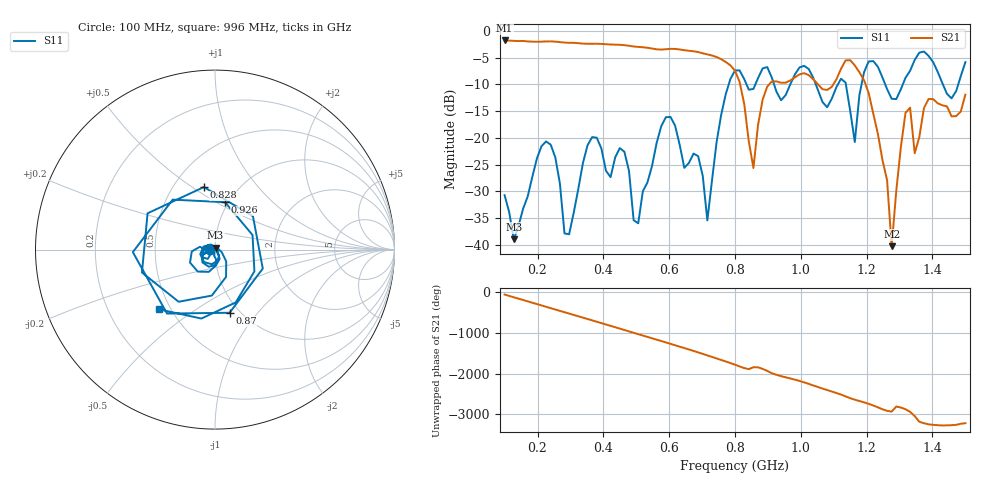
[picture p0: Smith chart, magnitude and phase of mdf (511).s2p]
! NanoVNA-App
! Date: 2025-09-25 15:42:24
! Start: 100MHz Stop: 1,5GHz Points: 101
! S-Parameter data: F S11 S21 S12 S22
# Hz S RI R 50
!  Frequency  S11_Real  S11_Imag  S21_Real  S21_Imag  S12_Real  S12_Imag  S22_Real  S22_Imag
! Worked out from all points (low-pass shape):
!   101 points, 100 MHz to 1.5 GHz, reference 50 ohm
!   highest |S21| = -1.80 dB at 100 MHz (marker M1); lowest = -40.3 dB at 1.276 GHz (marker M2)
!   |S21| within 3 dB of the highest: start of sweep to 739.3 MHz
!   lowest |S11| = -39.0 dB at 128 MHz (marker M3), VSWR 1.02, Z = 50.3 + j1.08 ohm
!   |S11| at or under -10 dB: start of sweep to 781.1 MHz; 918.6 MHz to 968 MHz (49.39 MHz wide, 5.24 % of centre); 1.045 GHz to 1.113 GHz (67.48 MHz wide, 6.25 % of centre) (the widest 3 of 7)
!   S12 and S22 are empty: the file has one direction only
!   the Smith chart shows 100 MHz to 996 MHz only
!   S11 on the Smith chart (normalised r, x): 100 MHz: 0.94, -0.01; 828 MHz: 0.70, +0.56; 870 MHz: 0.90, -0.73; 926 MHz: 0.96, +0.55; 996 MHz: 0.43, -0.37
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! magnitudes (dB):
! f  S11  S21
! 100 MHz  -30.7  -1.8
! 128 MHz  -39.0  -1.9
! 212 MHz  -21.6  -2.0
! 282 MHz  -37.9  -2.2
! 338 MHz  -24.7  -2.4
! 464 MHz  -22.6  -2.7
! 506 MHz  -36.0  -3.0
! 576 MHz  -17.8  -3.5
! 688 MHz  -23.4  -4.0
! 716 MHz  -35.4  -4.4
! 800 MHz  -7.4  -7.5
! 828 MHz  -9.0  -13.7
! 856 MHz  -10.9  -25.7
! 870 MHz  -8.8  -17.6
! 926 MHz  -11.4  -9.5
! 996 MHz  -6.8  -8.1
! 1.038 GHz  -8.8  -9.1
! 1.164 GHz  -20.8  -6.5
! 1.192 GHz  -7.8  -9.3
! 1.276 GHz  -12.7  -40.3
! 1.318 GHz  -8.8  -15.3
! 1.5 GHz  -5.8  -11.9
